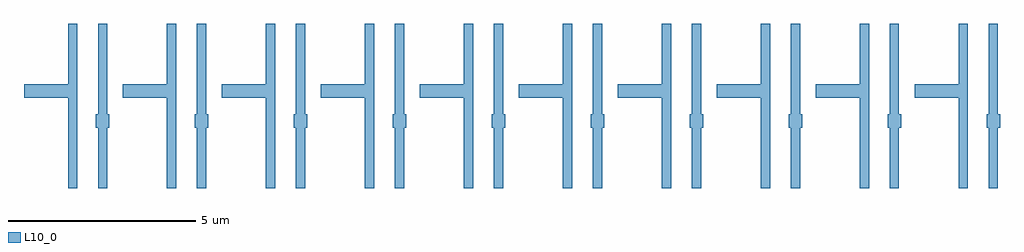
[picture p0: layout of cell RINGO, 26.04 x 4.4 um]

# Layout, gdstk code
import gdstk
lib = gdstk.Library(unit=1e-6, precision=1e-09)
def R(c, l, rs):  # rectangles x0, y0, x1, y1
    for r in rs: c.add(gdstk.rectangle(r[:2], r[2:], *l))
L10_0 = (10, 0)
L11_0 = (11, 0)
L12_0 = (12, 0)

trans = lib.new_cell('TRANS')
R(trans, L10_0, [(-0.125,-0.8,0.125,0.8)])
trans.add(gdstk.FlexPath([(-0.125,-0.8),(-0.125,0.8)], 0, ends="flush", simple_path=True, layer=11, datatype=0))  # L11_0
trans.add(gdstk.FlexPath([(0.125,0.8),(0.125,-0.8)], 0, ends="flush", simple_path=True, layer=11, datatype=0))  # L11_0

inv2 = lib.new_cell('INV2')
R(inv2, L10_0, [(-0.525,-0.25,-0.275,2.25), (0.275,-0.25,0.525,2.25), (0.22,0.82,0.58,1.18), (-1.7,1.62,-0.4,1.98)])
inv2.add(gdstk.FlexPath([(-0.525,1.98),(-0.525,2.25)], 0, ends="flush", simple_path=True, layer=11, datatype=0))  # L11_0
inv2.add(gdstk.FlexPath([(-0.525,-0.25),(-0.525,1.62)], 0, ends="flush", simple_path=True, layer=11, datatype=0))  # L11_0
inv2.add(gdstk.FlexPath([(0.525,2.25),(0.525,1.18)], 0, ends="flush", simple_path=True, layer=11, datatype=0))  # L11_0
inv2.add(gdstk.FlexPath([(0.275,1.18),(0.275,2.25)], 0, ends="flush", simple_path=True, layer=11, datatype=0))  # L11_0
inv2.add(gdstk.FlexPath([(0.525,0.82),(0.525,-0.25)], 0, ends="flush", simple_path=True, layer=11, datatype=0))  # L11_0
inv2.add(gdstk.FlexPath([(0.275,-0.25),(0.275,0.82)], 0, ends="flush", simple_path=True, layer=11, datatype=0))  # L11_0
inv2.add(gdstk.FlexPath([(0.58,1.18),(0.58,0.82)], 0, ends="flush", simple_path=True, layer=11, datatype=0))  # L11_0
inv2.add(gdstk.FlexPath([(-0.275,2.25),(-0.275,-0.25)], 0, ends="flush", simple_path=True, layer=11, datatype=0))  # L11_0
inv2.add(gdstk.FlexPath([(0.22,1.18),(0.275,1.18)], 0, ends="flush", simple_path=True, layer=11, datatype=0))  # L11_0
inv2.add(gdstk.FlexPath([(0.525,-0.8),(0.275,-0.8)], 0, ends="flush", simple_path=True, layer=11, datatype=0))  # L11_0
inv2.add(gdstk.FlexPath([(-0.275,-0.8),(-0.525,-0.8)], 0, ends="flush", simple_path=True, layer=11, datatype=0))  # L11_0
inv2.add(gdstk.FlexPath([(-0.525,3.6),(-0.275,3.6)], 0, ends="flush", simple_path=True, layer=11, datatype=0))  # L11_0
inv2.add(gdstk.FlexPath([(0.22,0.82),(0.22,1.18)], 0, ends="flush", simple_path=True, layer=11, datatype=0))  # L11_0
inv2.add(gdstk.FlexPath([(-1.7,1.98),(-0.525,1.98)], 0, ends="flush", simple_path=True, layer=11, datatype=0))  # L11_0
inv2.add(gdstk.FlexPath([(0.275,3.6),(0.525,3.6)], 0, ends="flush", simple_path=True, layer=11, datatype=0))  # L11_0
inv2.add(gdstk.FlexPath([(-1.7,1.62),(-1.7,1.98)], 0, ends="flush", simple_path=True, layer=11, datatype=0))  # L11_0
inv2.add(gdstk.FlexPath([(0.275,0.82),(0.22,0.82)], 0, ends="flush", simple_path=True, layer=11, datatype=0))  # L11_0
inv2.add(gdstk.FlexPath([(0.58,0.82),(0.525,0.82)], 0, ends="flush", simple_path=True, layer=11, datatype=0))  # L11_0
inv2.add(gdstk.FlexPath([(-0.525,1.62),(-1.7,1.62)], 0, ends="flush", simple_path=True, layer=11, datatype=0))  # L11_0
inv2.add(gdstk.FlexPath([(0.525,1.18),(0.58,1.18)], 0, ends="flush", simple_path=True, layer=11, datatype=0))  # L11_0
inv2.add(gdstk.FlexPath([(-0.525,-0.8),(-0.525,1.62)], 0, ends="flush", simple_path=True, layer=12, datatype=0))  # L12_0
inv2.add(gdstk.FlexPath([(-0.525,1.62),(-1.7,1.62)], 0, ends="flush", simple_path=True, layer=12, datatype=0))  # L12_0
inv2.add(gdstk.FlexPath([(-1.7,1.98),(-0.525,1.98)], 0, ends="flush", simple_path=True, layer=12, datatype=0))  # L12_0
inv2.add(gdstk.FlexPath([(-0.525,1.98),(-0.525,3.6)], 0, ends="flush", simple_path=True, layer=12, datatype=0))  # L12_0
inv2.add(gdstk.FlexPath([(-0.275,3.6),(-0.275,-0.8)], 0, ends="flush", simple_path=True, layer=12, datatype=0))  # L12_0
inv2.add(gdstk.FlexPath([(0.275,-0.8),(0.275,0.82)], 0, ends="flush", simple_path=True, layer=12, datatype=0))  # L12_0
inv2.add(gdstk.FlexPath([(0.275,1.18),(0.275,3.6)], 0, ends="flush", simple_path=True, layer=12, datatype=0))  # L12_0
inv2.add(gdstk.FlexPath([(0.525,3.6),(0.525,1.18)], 0, ends="flush", simple_path=True, layer=12, datatype=0))  # L12_0
inv2.add(gdstk.FlexPath([(0.525,0.82),(0.525,-0.8)], 0, ends="flush", simple_path=True, layer=12, datatype=0))  # L12_0
inv2.add(gdstk.Reference(trans, (-0.4,0)))
inv2.add(gdstk.Reference(trans, (-0.4,2.8)))
inv2.add(gdstk.Reference(trans, (0.4,0), x_reflection=True))
inv2.add(gdstk.Reference(trans, (0.4,2.8), x_reflection=True))

ringo = lib.new_cell('RINGO')
ringo.add(gdstk.Reference(inv2, (0,0)))
ringo.add(gdstk.Reference(inv2, (2.64,0)))
ringo.add(gdstk.Reference(inv2, (5.28,0)))
ringo.add(gdstk.Reference(inv2, (7.92,0)))
ringo.add(gdstk.Reference(inv2, (10.56,0)))
ringo.add(gdstk.Reference(inv2, (13.2,0)))
ringo.add(gdstk.Reference(inv2, (15.84,0)))
ringo.add(gdstk.Reference(inv2, (18.48,0)))
ringo.add(gdstk.Reference(inv2, (21.12,0)))
ringo.add(gdstk.Reference(inv2, (23.76,0)))

lib.write_gds('RINGO.gds')
